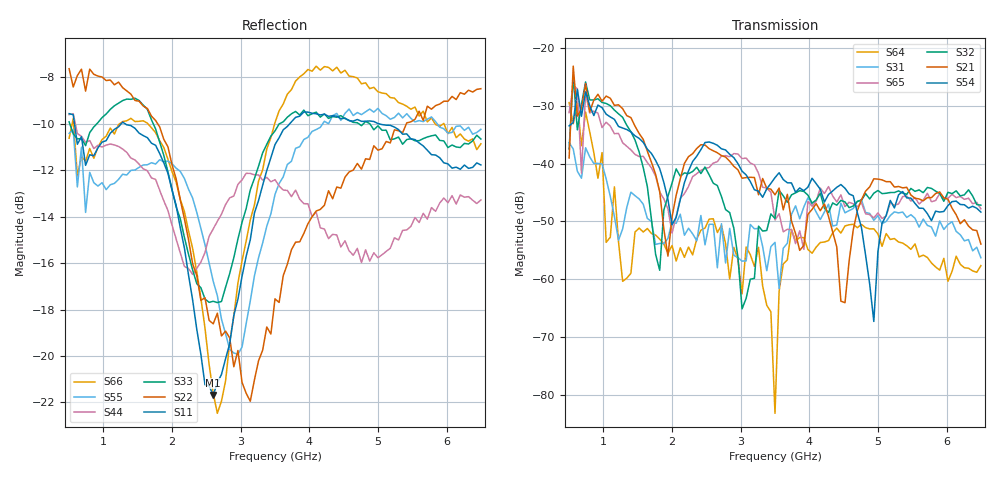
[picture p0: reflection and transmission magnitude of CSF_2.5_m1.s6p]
!Keysight Technologies,M9804A,MY58100912,A.14.10.03
!Date: Thursday, April 27, 2023 10:28:33
!Correction: S11(C  6-Port  )
!S12(C  6-Port  )
!S13(C  6-Port  )
!S14(C  6-Port  )
!S15(C  6-Port  )
!S16(C  6-Port  )
!S21(C  6-Port  )
!S22(C  6-Port  )
!S23(C  6-Port  )
!S24(C  6-Port  )
!S25(C  6-Port  )
!S26(C  6-Port  )
!S31(C  6-Port  )
!S32(C  6-Port  )
!S33(C  6-Port  )
!S34(C  6-Port  )
!S35(C  6-Port  )
!S36(C  6-Port  )
!S41(C  6-Port  )
!S42(C  6-Port  )
!S43(C  6-Port  )
!S44(C  6-Port  )
!S45(C  6-Port  )
!S46(C  6-Port  )
!S51(C  6-Port  )
!S52(C  6-Port  )
!S53(C  6-Port  )
!S54(C  6-Port  )
!S55(C  6-Port  )
!S56(C  6-Port  )
!S61(C  6-Port  )
!S62(C  6-Port  )
!S63(C  6-Port  )
!S64(C  6-Port  )
!S65(C  6-Port  )
!S66(C  6-Port  )
!S6P File: Measurement: :
# Hz S  RI  R 50
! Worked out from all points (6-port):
!   101 points, 500 MHz to 6.5 GHz, reference 50 ohm
!   strongest paths, dB at 500 MHz, 2 GHz, 3.5 GHz, 5 GHz, 6.5 GHz:
!     S54: -33.5, -50.6, -42.4, -55.2, -48.4
!     S21: -39.0, -49.2, -45.4, -42.7, -53.9
!     S32: -37.5, -43.4, -49.5, -44.7, -47.2
!     S65: -31.2, -52.0, -49.7, -48.5, -47.8
!     S31: -36.4, -50.0, -53.6, -49.0, -56.3
!     S64: -29.5, -54.2, -83.2, -52.2, -57.6
!   lowest |S11| = -21.7 dB at 2.6 GHz (marker M1), VSWR 1.18, Z = 42.7 + j2.09 ohm
!   |S11| at or under -10 dB: 578.4 MHz to 1.26 GHz (681.1 MHz wide, 74.1 % of centre); 1.316 GHz to 3.715 GHz (2.399 GHz wide, 95.4 % of centre); 5.012 GHz to end of sweep
